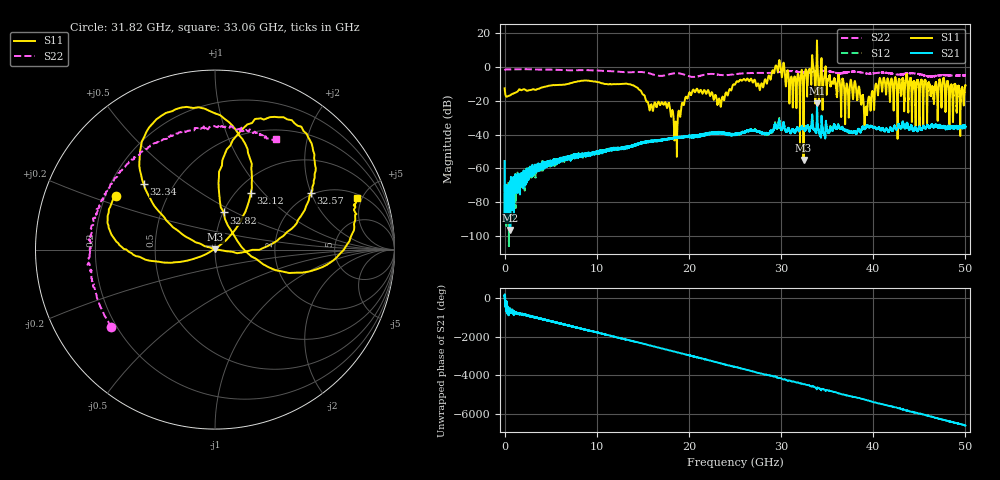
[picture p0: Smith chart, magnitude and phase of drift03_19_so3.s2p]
!Created with skrf (http://scikit-rf.org).
# Hz S RI R 50.0
!freq ReS11 ImS11 ReS21 ImS21 ReS12 ImS12 ReS22 ImS22
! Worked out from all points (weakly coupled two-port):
!   10001 points, 300 kHz to 50 GHz, reference 50 ohm
!   highest |S21| = -21.42 dB at 33.9 GHz (marker M1); lowest = -96.3 dB at 615.3 MHz (marker M2)
!   lowest |S11| = -55.0 dB at 32.44 GHz (marker M3), VSWR 1.00, Z = 50.1 + j0.137 ohm
!   |S11| at or under -10 dB: start of sweep to 6.949 GHz; 13.31 GHz to 25.05 GHz (11.74 GHz wide, 61.2 % of centre); 38.08 GHz to 40.28 GHz (2.199 GHz wide, 5.61 % of centre) (the widest 3 of 58)
!   |S22| runs from -5.9 to -1.3 dB; largest |S21 - S12| = 0.0072
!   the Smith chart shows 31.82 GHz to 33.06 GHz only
!   S11 on the Smith chart (normalised r, x): 31.82 GHz: 0.24, +0.24; 32.12 GHz: 1.16, +0.85; 32.34 GHz: 0.34, +0.35; 32.57 GHz: 1.95, +1.99; 32.82 GHz: 1.01, +0.44; 33.06 GHz: 2.31, +4.51
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300000  -0.2123 -0.0972  -0.000807 0.00145  0.00015 0.00029  -0.7612 -0.1825
6.152963e8  -0.0451 0.1384  5.65e-06 1.42e-05  0.000156 -0.00032  -0.2672 0.8005
2.330286e9  0.0242 -0.2015  -0.000578 0.000105  -0.000565 -4.13e-05  0.097 -0.8509
3.935276e9  -0.0196 0.2404  0.0013 -0.000211  0.00105 -0.000281  -0.03 0.8328
5.465267e9  0.0705 -0.2808  -0.00154 0.000168  -0.00179 4.52e-05  0.1757 -0.8059
8.33525e9  0.2834 -0.2676  -0.00225 -0.000773  -0.00231 -0.00115  0.6003 -0.5365
9.585242e9  -0.3711 -0.0403  0.00147 0.00247  0.0014 0.00239  -0.7867 -0.0776
1.123023e10  0.3047 0.0324  -0.00227 -0.00269  -0.00216 -0.00281  0.756 0.0408
1.66702e10  0.0543 0.0754  0.00451 -0.00496  0.0046 -0.00482  -0.3553 0.42
2.500015e10  -0.2969 -0.0477  0.00772 0.0065  0.008 0.00641  -0.1905 -0.5798
3.050512e10  0.255 -0.0864  -0.0024 0.013  -0.00272 0.0128  0.7403 -0.0606
3.181511e10  -0.5488 0.301  0.0116 -0.0101  0.0116 -0.00978  -0.577 -0.4325
3.212011e10  0.1988 0.314  0.000271 -0.0149  -0.000215 -0.0154  -0.6984 0.00395
3.233511e10  -0.3972 0.3646  -0.00422 -0.0148  -0.00398 -0.015  -0.61 0.3044
3.243511e10  0.00114 0.00137  -0.00903 -0.0121  -0.00953 -0.0122  -0.5292 0.4377
3.25701e10  0.5343 0.3147  -0.00997 -0.00908  -0.0101 -0.00932  -0.3709 0.5715
3.28201e10  0.0489 0.2069  -0.0164 -0.00245  -0.0169 -0.00248  -0.0116 0.6885
3.30601e10  0.7884 0.2879  -0.0128 0.00205  -0.0129 0.00303  0.3381 0.6155
3.33351e10  0.451 -1.015  -0.00584 0.0256  -0.00525 0.0242  0.6147 0.363
3.38951e10  -0.7576 -6.009  0.0845 0.00844  0.0797 0.00713  0.6802 -0.3263
4.167005e10  -0.2115 0.2858  -0.0118 -0.00432  -0.0118 -0.00486  -0.6555 -0.0504
5e10  -0.153 -0.2421  4.04e-05 -0.0171  0.000834 -0.0165  0.4605 -0.3217
